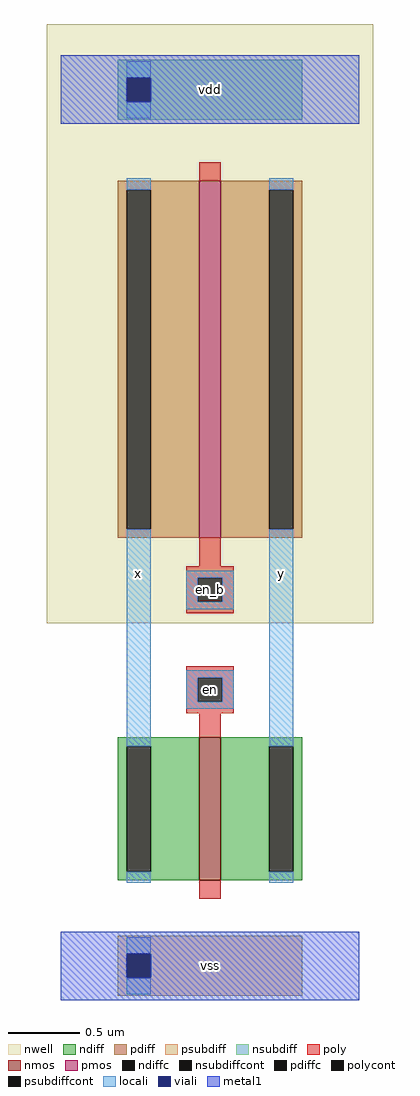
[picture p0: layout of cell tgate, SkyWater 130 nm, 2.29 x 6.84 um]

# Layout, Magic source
magic
tech sky130A
magscale 1 2
<< nwell >>
rect -20 480 438 1320
<< nmos >>
rect 194 120 224 320
<< pmos >>
rect 194 600 224 1100
<< ndiff >>
rect 80 308 194 320
rect 80 132 92 308
rect 126 132 194 308
rect 80 120 194 132
rect 224 308 338 320
rect 224 132 292 308
rect 326 132 338 308
rect 224 120 338 132
<< pdiff >>
rect 80 1088 194 1100
rect 80 612 92 1088
rect 126 612 194 1088
rect 80 600 194 612
rect 224 1088 338 1100
rect 224 612 292 1088
rect 326 612 338 1088
rect 224 600 338 612
<< ndiffc >>
rect 92 132 126 308
rect 292 132 326 308
<< pdiffc >>
rect 92 612 126 1088
rect 292 612 326 1088
<< psubdiff >>
rect 80 17 338 42
rect 80 -17 92 17
rect 126 -17 338 17
rect 80 -42 338 -17
<< nsubdiff >>
rect 80 1245 338 1270
rect 80 1211 92 1245
rect 126 1211 338 1245
rect 80 1186 338 1211
<< psubdiffcont >>
rect 92 -17 126 17
<< nsubdiffcont >>
rect 92 1211 126 1245
<< poly >>
rect 194 1100 224 1126
rect 194 560 224 600
rect 176 544 242 560
rect 176 510 192 544
rect 226 510 242 544
rect 176 494 242 510
rect 176 404 242 420
rect 176 370 192 404
rect 226 370 242 404
rect 176 354 242 370
rect 194 320 224 354
rect 194 94 224 120
<< polycont >>
rect 192 510 226 544
rect 192 370 226 404
<< locali >>
rect 92 1245 126 1268
rect 92 1188 126 1211
rect 92 1088 126 1104
rect 92 308 126 612
rect 292 1088 326 1104
rect 176 544 242 554
rect 176 510 192 544
rect 226 510 242 544
rect 176 500 242 510
rect 176 404 242 414
rect 176 370 192 404
rect 226 370 242 404
rect 176 360 242 370
rect 92 116 126 132
rect 292 308 326 612
rect 292 116 326 132
rect 92 17 126 40
rect 92 -40 126 -17
<< viali >>
rect 92 1211 126 1245
rect 92 -17 126 17
<< metal1 >>
rect 0 1245 418 1276
rect 0 1211 92 1245
rect 126 1211 418 1245
rect 0 1180 418 1211
rect 0 17 418 48
rect 0 -17 92 17
rect 126 -17 418 17
rect 0 -48 418 -17
<< labels >>
rlabel locali 92 520 126 580 0 x
port 5 nsew signal bidirectional
rlabel locali 292 520 326 580 0 y
port 6 nsew signal bidirectional
rlabel locali 176 360 242 414 0 en
port 7 nsew signal input
rlabel locali 176 500 242 554 0 en_b
port 8 nsew signal input
rlabel metal1 0 1180 418 1276 0 vdd
port 9 nsew signal bidirectional
rlabel metal1 0 -48 418 48 0 vss
port 10 nsew signal bidirectional
<< end >>
